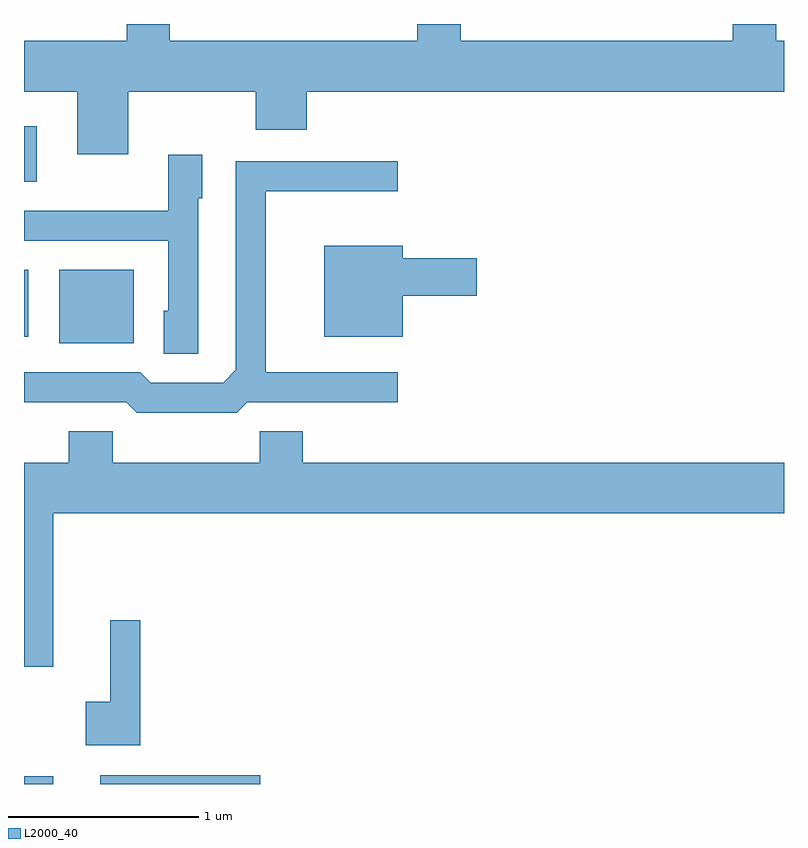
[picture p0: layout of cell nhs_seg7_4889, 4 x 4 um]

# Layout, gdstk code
import gdstk
lib = gdstk.Library(unit=1e-6, precision=1e-09)
def R(c, l, rs):  # rectangles x0, y0, x1, y1
    for r in rs: c.add(gdstk.rectangle(r[:2], r[2:], *l))
def P(c, l, *ps):  # polygons
    for p in ps: c.add(gdstk.Polygon(p, *l))
L2000_40 = (2000, 40)

nhs_seg7_4889 = lib.new_cell('nhs_seg7_4889')
R(nhs_seg7_4889, L2000_40, [(335.611,1686.252,335.764,1686.293), (336.011,1686.252,336.854,1686.299), (335.796,1688.571,336.189,1688.959), (335.611,1688.606,335.634,1688.959), (335.611,1689.421,335.679,1689.714)])
P(nhs_seg7_4889, L2000_40, [(336.159,1689.896),(336.831,1689.896),(336.831,1689.696),(337.099,1689.696),(337.099,1689.896),(339.611,1689.896),(339.611,1690.164),(339.569,1690.164),(339.569,1690.252),(339.341,1690.252),(339.341,1690.164),(337.909,1690.164),(337.909,1690.252),(337.681,1690.252),(337.681,1690.164),(336.379,1690.164),(336.379,1690.252),(336.151,1690.252),(336.151,1690.164),(335.611,1690.164),(335.611,1689.896),(335.891,1689.896),(335.891,1689.566),(336.159,1689.566)],
  [(336.529,1689.336),(336.549,1689.336),(336.549,1689.564),(336.371,1689.564),(336.371,1689.269),(335.611,1689.269),(335.611,1689.111),(336.371,1689.111),(336.371,1688.744),(336.346,1688.744),(336.346,1688.516),(336.529,1688.516)],
  [(336.787,1688.261),(337.578,1688.261),(337.578,1688.419),(336.884,1688.419),(336.884,1689.371),(337.578,1689.371),(337.578,1689.529),(336.726,1689.529),(336.726,1688.432),(336.659,1688.364),(336.277,1688.364),(336.222,1688.419),(335.611,1688.419),(335.611,1688.261),(336.149,1688.261),(336.204,1688.206),(336.732,1688.206)],
  [(337.604,1688.821),(337.994,1688.821),(337.994,1689.019),(337.604,1689.019),(337.604,1689.084),(337.191,1689.084),(337.191,1688.606),(337.604,1688.606)],
  [(335.764,1687.676),(339.611,1687.676),(339.611,1687.944),(337.079,1687.944),(337.079,1688.109),(336.851,1688.109),(336.851,1687.944),(336.079,1687.944),(336.079,1688.109),(335.846,1688.109),(335.846,1687.944),(335.611,1687.944),(335.611,1686.868),(335.764,1686.868)],
  [(336.224,1687.113),(336.066,1687.113),(336.066,1686.684),(335.936,1686.684),(335.936,1686.456),(336.224,1686.456)])

lib.write_gds('nhs_seg7_4889.gds')
